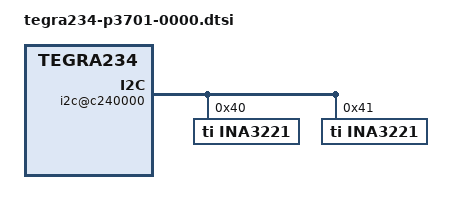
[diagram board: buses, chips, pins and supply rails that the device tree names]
// SPDX-License-Identifier: GPL-2.0
// Copyright (c) 2022, NVIDIA CORPORATION & AFFILIATES.  All rights reserved.

#include "tegra234-p3737-0000-camera-imx274-dual.dtsi"
#include "tegra234-p3737-0000-camera-imx185-a00.dtsi"
/ {
	fragment-t234-p3701-0001@0 {
		target-path = "/bus@0/i2c@c240000";
		__overlay__ {
			status = "okay";

			ina3221@40 {
				compatible = "ti,ina3221";
				reg = <0x40>;
				#address-cells = <1>;
				#size-cells = <0>;
				#io-channel-cells = <1>;
				channel@0 {
					reg = <0x0>;
					label = "VDD_GPU_SOC";
					shunt-resistor-micro-ohms = <2000>;
				};
				channel@1 {
					reg = <0x1>;
					label = "VDD_CPU_CV";
					shunt-resistor-micro-ohms = <2000>;
				};
				channel@2 {
					reg = <0x2>;
					label = "VIN_SYS_5V0";
					shunt-resistor-micro-ohms = <2000>;
				};
			};

			ina3221@41 {
				compatible = "ti,ina3221";
				reg = <0x41>;
				#address-cells = <1>;
				#size-cells = <0>;
				#io-channel-cells = <1>;
				channel@0 {
					reg = <0x0>;
					label = "NC";
				};
				channel@1 {
					reg = <0x1>;
					label = "VDDQ_VDD2_1V8AO";
					shunt-resistor-micro-ohms = <2000>;
				};
				channel@2 {
					reg = <0x2>;
					label = "NC";
				};
			};
		};
	};
};
